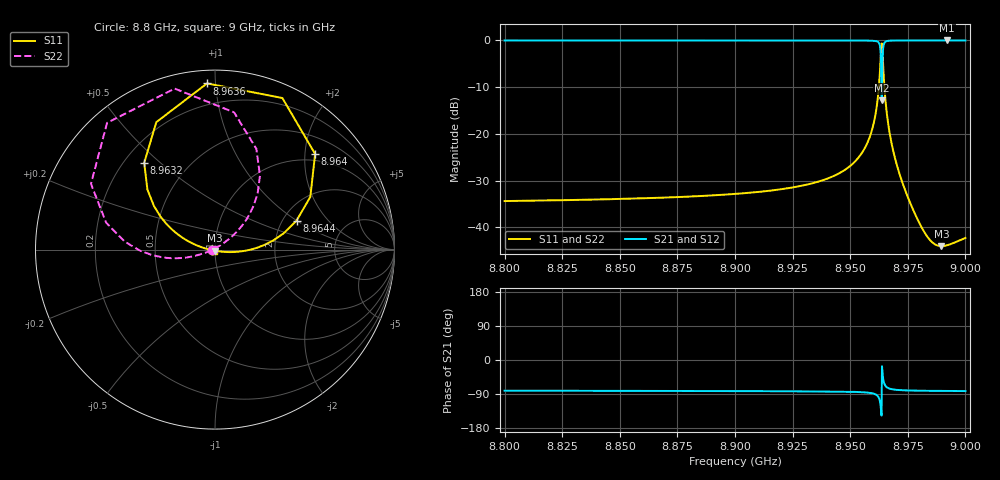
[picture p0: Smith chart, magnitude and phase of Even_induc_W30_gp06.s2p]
! Sonnet Data File
! From: emgraph Version : 16.52
! From Project: Resonator2_cp_varyW
! Data is De-embedded
! Data File Written: 10/07/2017 23:12:07
!< HDATE 10/07/2017 13:09:30
!< MDATE 10/07/2017 13:09:30
!< PARAMS
!< gap = 6.0
!< Length = 400.0
!< Pwid1 = 2000.0
!< Pwid2 = 2000.0
!< Air_gap = 18.0
!< Width = 30.0
!< END PARAMS
# GHZ S MA R 51.80000
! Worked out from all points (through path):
!   1001 points, 8.8 GHz to 9 GHz, reference 51.8 ohm
!   highest |S21| = 0.00 dB at 8.992 GHz (marker M1); lowest = -12.8 dB at 8.9636 GHz (marker M2)
!   lowest |S11| = -44.0 dB at 8.9896 GHz (marker M3), VSWR 1.01, Z = 51.7 - j0.64 ohm
!   |S11| at or under -10 dB: start of sweep to 8.9624 GHz; 8.964851 GHz to end of sweep
!   |S22| runs from -44.0 to -0.7 dB; largest |S21 - S12| = 0
!   S11 on the Smith chart (normalised r, x): 8.8 GHz: 0.96, -0.01; 8.9632 GHz: 0.28, +0.44; 8.9636 GHz: 0.07, +0.95; 8.964 GHz: 0.84, +2.22; 8.9644 GHz: 2.37, +1.00; 9 GHz: 0.99, -0.01
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8.8  0.01912 -170.7  0.9998 -80.9  0.9998 -80.9  0.01912 -171.2
!< P1 F=8.8 Eeff=(6.44507571 -2.9713e-5) Z0=(50.6188468 1.16784e-4) R=0.0 C=0.0
!< P2 F=8.8 Eeff=(6.44507571 -2.9713e-5) Z0=(50.6188468 1.16784e-4) R=0.0 C=0.0
8.8334  0.01971 -171.6  0.9998 -81.3  0.9998 -81.3  0.01971 -171.0
8.8668  0.02072 -172.9  0.9998 -81.7  0.9998 -81.7  0.02072 -170.4
8.9  0.02279 -175.0  0.9997 -82.1  0.9997 -82.1  0.02279 -169.2
8.9334  0.02956 -179.4  0.9996 -82.8  0.9996 -82.8  0.02956 -166.2
8.9474  0.04079 176.3  0.9991 -83.6  0.9991 -83.6  0.04079 -163.6
8.9558  0.06681 171.2  0.9976 -85.2  0.9976 -85.2  0.06683 -161.7
8.9596  0.1134 166.1  0.993 -87.9  0.993 -87.9  0.1135 -162.4
8.962  0.2449 156.3  0.9667 -95.6  0.9667 -95.6  0.245 -168.7
8.9626  0.3556 148.8  0.9282 -102.2  0.9282 -102.2  0.3558 -175.3
8.9632  0.624 129.2  0.7563 -120.0  0.7563 -120.0  0.6244 166.2
8.9636  0.927 92.7  0.2296 -146.6  0.2296 -146.6  0.9276 130.4
8.964  0.7714 43.7  0.5849 -31.1  0.5849 -31.1  0.7719 82.1
8.9644  0.482 19.6  0.8616 -52.6  0.8616 -52.6  0.4823 58.7
8.9652  0.2447 3.2  0.966 -67.3  0.966 -67.3  0.2449 43.9
8.9668  0.1139 -6.6  0.9926 -74.9  0.9926 -74.9  0.114 37.6
8.9708  0.04171 -16.5  0.999 -79.1  0.999 -79.1  0.04176 38.7
8.9774  0.01526 -33.9  0.9998 -80.7  0.9998 -80.7  0.0153 52.7
8.984  0.007635 -65.7  0.9999 -81.3  0.9999 -81.3  0.007673 83.1
8.9896  0.006292 -100.2  1 -81.7  1 -81.7  0.006322 116.9
8.992  0.006424 -112.2  1 -81.8  1 -81.8  0.006448 128.6
9  0.007698 -136.0  1 -82.0  1 -82.0  0.007711 151.9
